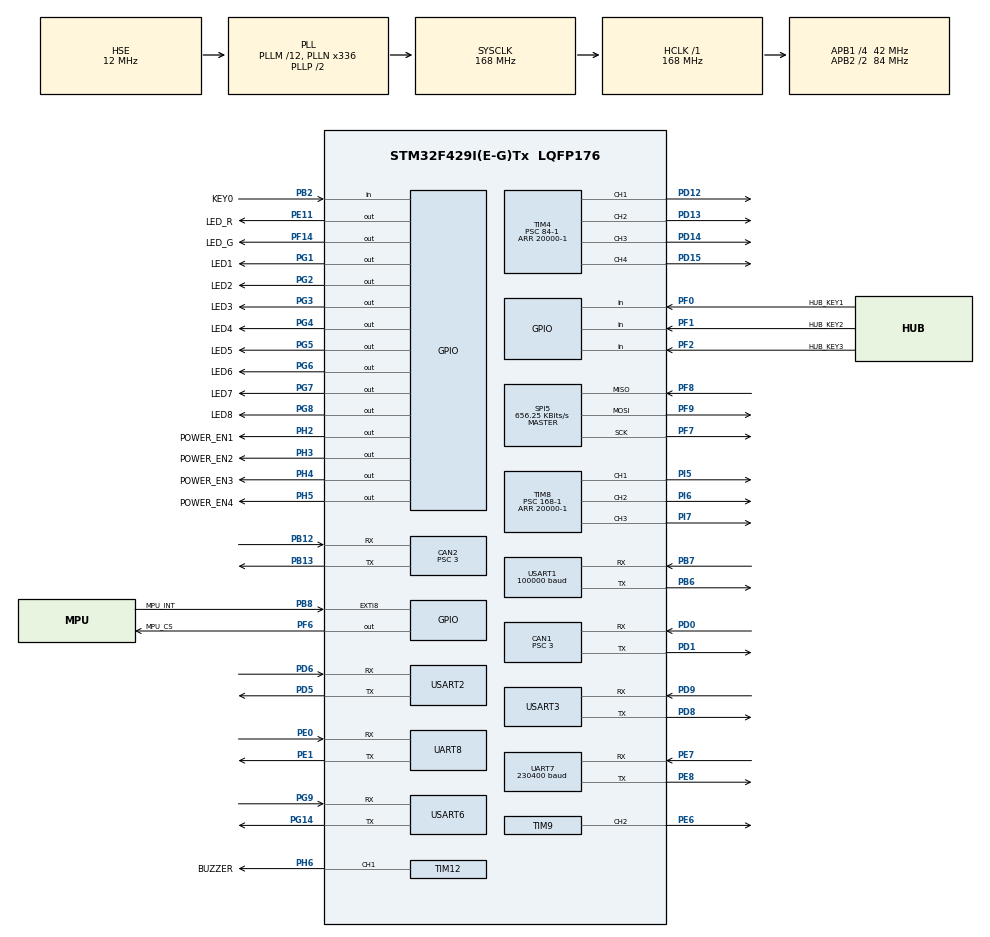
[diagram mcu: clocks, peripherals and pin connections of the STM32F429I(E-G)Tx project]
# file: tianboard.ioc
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CAN1.BS1=CAN_BS1_7TQ
CAN1.BS2=CAN_BS2_6TQ
CAN1.CalculateTimeQuantum=71.42857142857143
CAN1.Prescaler=3
CAN2.BS1=CAN_BS1_7TQ
CAN2.BS2=CAN_BS2_6TQ
CAN2.CalculateTimeQuantum=71.42857142857143
CAN2.Prescaler=3
Dma.Request0=USART1_RX
Dma.Request1=USART2_TX
Dma.Request2=UART7_RX
Dma.Request3=UART7_TX
Dma.UART7_RX.2.Direction=DMA_PERIPH_TO_MEMORY
Dma.UART7_RX.2.FIFOMode=DMA_FIFOMODE_DISABLE
Dma.UART7_RX.2.Instance=DMA1_Stream3
Dma.UART7_RX.2.MemDataAlignment=DMA_MDATAALIGN_BYTE
Dma.UART7_RX.2.MemInc=DMA_MINC_ENABLE
Dma.UART7_RX.2.Mode=DMA_NORMAL
Dma.UART7_RX.2.PeriphDataAlignment=DMA_PDATAALIGN_BYTE
Dma.UART7_RX.2.PeriphInc=DMA_PINC_DISABLE
Dma.UART7_RX.2.Priority=DMA_PRIORITY_LOW
Dma.UART7_TX.3.Direction=DMA_MEMORY_TO_PERIPH
Dma.UART7_TX.3.FIFOMode=DMA_FIFOMODE_DISABLE
Dma.UART7_TX.3.Instance=DMA1_Stream1
Dma.UART7_TX.3.MemDataAlignment=DMA_MDATAALIGN_BYTE
Dma.UART7_TX.3.MemInc=DMA_MINC_ENABLE
Dma.UART7_TX.3.Mode=DMA_NORMAL
Dma.UART7_TX.3.PeriphDataAlignment=DMA_PDATAALIGN_BYTE
Dma.UART7_TX.3.PeriphInc=DMA_PINC_DISABLE
Dma.UART7_TX.3.Priority=DMA_PRIORITY_LOW
Dma.USART1_RX.0.Direction=DMA_PERIPH_TO_MEMORY
Dma.USART1_RX.0.FIFOMode=DMA_FIFOMODE_DISABLE
Dma.USART1_RX.0.Instance=DMA2_Stream2
Dma.USART1_RX.0.MemDataAlignment=DMA_MDATAALIGN_BYTE
Dma.USART1_RX.0.MemInc=DMA_MINC_ENABLE
Dma.USART1_RX.0.Mode=DMA_NORMAL
Dma.USART1_RX.0.PeriphDataAlignment=DMA_PDATAALIGN_BYTE
Dma.USART1_RX.0.PeriphInc=DMA_PINC_DISABLE
Dma.USART1_RX.0.Priority=DMA_PRIORITY_LOW
Dma.USART2_TX.1.Direction=DMA_MEMORY_TO_PERIPH
Dma.USART2_TX.1.FIFOMode=DMA_FIFOMODE_DISABLE
Dma.USART2_TX.1.Instance=DMA1_Stream6
Dma.USART2_TX.1.MemDataAlignment=DMA_MDATAALIGN_BYTE
Dma.USART2_TX.1.MemInc=DMA_MINC_ENABLE
Dma.USART2_TX.1.Mode=DMA_NORMAL
Dma.USART2_TX.1.PeriphDataAlignment=DMA_PDATAALIGN_BYTE
Dma.USART2_TX.1.PeriphInc=DMA_PINC_DISABLE
Dma.USART2_TX.1.Priority=DMA_PRIORITY_LOW
FREERTOS.INCLUDE_xTaskGetCurrentTaskHandle=1
FREERTOS.Tasks01=defaultTask,0,128,StartDefaultTask,Default,NULL,Dynamic,NULL,NULL
FREERTOS.configTOTAL_HEAP_SIZE=131072
FREERTOS.configUSE_MUTEXES=0
FREERTOS.configUSE_TIMERS=0
Mcu.Family=STM32F4
Mcu.Name=STM32F429I(E-G)Tx
Mcu.Package=LQFP176
NVIC.CAN1_RX0_IRQn=true\:5\:0\:true\:false\:true\:true\:true\:true
NVIC.CAN1_TX_IRQn=true\:5\:0\:true\:false\:true\:true\:true\:true
NVIC.CAN2_RX0_IRQn=true\:5\:0\:false\:false\:true\:true\:true\:true
NVIC.CAN2_TX_IRQn=true\:5\:0\:false\:false\:true\:true\:true\:true
NVIC.DMA1_Stream1_IRQn=true\:5\:0\:false\:false\:true\:true\:false\:true
NVIC.DMA1_Stream3_IRQn=true\:5\:0\:false\:false\:true\:true\:false\:true
NVIC.DMA1_Stream6_IRQn=true\:5\:0\:false\:false\:true\:true\:false\:true
NVIC.DMA2_Stream2_IRQn=true\:5\:0\:false\:false\:true\:true\:false\:true
NVIC.EXTI9_5_IRQn=true\:5\:0\:false\:false\:true\:true\:true\:true
NVIC.PriorityGroup=NVIC_PRIORITYGROUP_4
NVIC.TIM1_BRK_TIM9_IRQn=true\:5\:0\:false\:false\:false\:true\:true\:false
NVIC.TIM6_DAC_IRQn=true\:0\:0\:false\:false\:true\:false\:false\:true
NVIC.TimeBase=TIM6_DAC_IRQn
NVIC.TimeBaseIP=TIM6
NVIC.UART7_IRQn=true\:5\:0\:false\:false\:true\:true\:true\:true
NVIC.USART1_IRQn=true\:5\:0\:false\:false\:true\:true\:true\:true
NVIC.USART2_IRQn=true\:5\:0\:false\:false\:true\:true\:true\:false
PA13.Mode=Serial_Wire
PA13.Signal=SYS_JTMS-SWDIO
PA14.Mode=Serial_Wire
PA14.Signal=SYS_JTCK-SWCLK
PB12.Mode=Slave
PB12.Signal=CAN2_RX
PB13.Mode=Slave
PB13.Signal=CAN2_TX
PB2/BOOT1.GPIO_Label=KEY0
PB2/BOOT1.GPIO_PuPd=GPIO_PULLDOWN
PB2/BOOT1.Signal=GPIO_Input
PB6.Mode=Asynchronous
PB6.Signal=USART1_TX
PB7.Mode=Asynchronous
PB7.Signal=USART1_RX
PB8.GPIO_Label=MPU_INT
PB8.Signal=GPXTI8
PD0.Mode=Master
PD0.Signal=CAN1_RX
PD1.Mode=Master
PD1.Signal=CAN1_TX
PD12.Signal=S_TIM4_CH1
PD13.Signal=S_TIM4_CH2
PD14.Signal=S_TIM4_CH3
PD15.Signal=S_TIM4_CH4
PD5.Mode=Asynchronous
PD5.Signal=USART2_TX
PD6.Mode=Asynchronous
PD6.Signal=USART2_RX
PD8.Mode=Asynchronous
PD8.Signal=USART3_TX
PD9.Mode=Asynchronous
PD9.Signal=USART3_RX
PE0.Mode=Asynchronous
PE0.Signal=UART8_RX
PE1.Mode=Asynchronous
PE1.Signal=UART8_TX
PE11.GPIO_Label=LED_R
PE11.Signal=GPIO_Output
PE6.Signal=S_TIM9_CH2
PE7.Mode=Asynchronous
PE7.Signal=UART7_RX
PE8.Mode=Asynchronous
PE8.Signal=UART7_TX
PF0.GPIO_Label=HUB_KEY1
PF0.GPIO_PuPd=GPIO_PULLUP
PF0.Signal=GPIO_Input
PF1.GPIO_Label=HUB_KEY2
PF1.GPIO_PuPd=GPIO_PULLUP
PF1.Signal=GPIO_Input
PF14.GPIO_Label=LED_G
PF14.Signal=GPIO_Output
PF2.GPIO_Label=HUB_KEY3
PF2.GPIO_PuPd=GPIO_PULLUP
PF2.Signal=GPIO_Input
PF6.GPIO_Label=MPU_CS
PF6.Signal=GPIO_Output
PF7.Mode=Full_Duplex_Master
PF7.Signal=SPI5_SCK
PF8.Mode=Full_Duplex_Master
PF8.Signal=SPI5_MISO
PF9.Mode=Full_Duplex_Master
PF9.Signal=SPI5_MOSI
PG1.GPIO_Label=LED1
PG1.Signal=GPIO_Output
PG14.Mode=Asynchronous
PG14.Signal=USART6_TX
PG2.GPIO_Label=LED2
PG2.Signal=GPIO_Output
PG3.GPIO_Label=LED3
PG3.Signal=GPIO_Output
PG4.GPIO_Label=LED4
PG4.Signal=GPIO_Output
PG5.GPIO_Label=LED5
PG5.Signal=GPIO_Output
PG6.GPIO_Label=LED6
PG6.Signal=GPIO_Output
PG7.GPIO_Label=LED7
PG7.Signal=GPIO_Output
PG8.GPIO_Label=LED8
PG8.Signal=GPIO_Output
PG9.Mode=Asynchronous
PG9.Signal=USART6_RX
PH0/OSC_IN.Mode=HSE-External-Oscillator
PH0/OSC_IN.Signal=RCC_OSC_IN
PH1/OSC_OUT.Mode=HSE-External-Oscillator
PH1/OSC_OUT.Signal=RCC_OSC_OUT
PH2.GPIO_Label=POWER_EN1
PH2.Signal=GPIO_Output
PH3.GPIO_Label=POWER_EN2
PH3.Signal=GPIO_Output
PH4.GPIO_Label=POWER_EN3
PH4.Signal=GPIO_Output
PH5.GPIO_Label=POWER_EN4
PH5.Signal=GPIO_Output
PH6.GPIO_Label=BUZZER
PH6.Signal=S_TIM12_CH1
PI5.Signal=S_TIM8_CH1
PI6.Signal=S_TIM8_CH2
PI7.Signal=S_TIM8_CH3
ProjectManager.HeapSize=0x1000
ProjectManager.StackSize=0x1000
ProjectManager.TargetToolchain=Makefile
RCC.48MHZClocksFreq_Value=84000000
RCC.AHBFreq_Value=168000000
RCC.APB1CLKDivider=RCC_HCLK_DIV4
RCC.APB1Freq_Value=42000000
RCC.APB1TimFreq_Value=84000000
RCC.APB2CLKDivider=RCC_HCLK_DIV2
RCC.APB2Freq_Value=84000000
RCC.APB2TimFreq_Value=168000000
RCC.CortexFreq_Value=168000000
RCC.HCLKFreq_Value=168000000
RCC.HSE_VALUE=12000000
RCC.HSI_VALUE=16000000
RCC.LSE_VALUE=32768
RCC.PLLM=12
RCC.PLLN=336
RCC.PLLSourceVirtual=RCC_PLLSOURCE_HSE
RCC.SYSCLKFreq_VALUE=168000000
RCC.SYSCLKSource=RCC_SYSCLKSOURCE_PLLCLK
RCC.VCOOutputFreq_Value=336000000
SH.S_TIM12_CH1.0=TIM12_CH1,PWM Generation1 CH1
SH.S_TIM4_CH1.0=TIM4_CH1,PWM Generation1 CH1
SH.S_TIM4_CH2.0=TIM4_CH2,PWM Generation2 CH2
SH.S_TIM4_CH3.0=TIM4_CH3,PWM Generation3 CH3
SH.S_TIM4_CH4.0=TIM4_CH4,PWM Generation4 CH4
SH.S_TIM8_CH1.0=TIM8_CH1,PWM Generation1 CH1
SH.S_TIM8_CH2.0=TIM8_CH2,PWM Generation2 CH2
SH.S_TIM8_CH3.0=TIM8_CH3,PWM Generation3 CH3
SH.S_TIM9_CH2.0=TIM9_CH2,PWM Generation2 CH2
SPI5.BaudRatePrescaler=SPI_BAUDRATEPRESCALER_128
SPI5.CalculateBaudRate=656.25 KBits/s
SPI5.Direction=SPI_DIRECTION_2LINES
SPI5.Mode=SPI_MODE_MASTER
SPI5.VirtualType=VM_MASTER
TIM12.Channel-PWM\ Generation1\ CH1=TIM_CHANNEL_1
TIM12.Period=50000-1
TIM12.Prescaler=84-1
TIM4.Channel-PWM\ Generation1\ CH1=TIM_CHANNEL_1
TIM4.Channel-PWM\ Generation2\ CH2=TIM_CHANNEL_2
TIM4.Channel-PWM\ Generation3\ CH3=TIM_CHANNEL_3
TIM4.Channel-PWM\ Generation4\ CH4=TIM_CHANNEL_4
TIM4.Period=20000-1
TIM4.Prescaler=84-1
TIM8.Channel-PWM\ Generation1\ CH1=TIM_CHANNEL_1
TIM8.Channel-PWM\ Generation2\ CH2=TIM_CHANNEL_2
TIM8.Channel-PWM\ Generation3\ CH3=TIM_CHANNEL_3
TIM8.Period=20000-1
TIM8.Prescaler=168-1
TIM9.AutoReloadPreload=TIM_AUTORELOAD_PRELOAD_ENABLE
TIM9.Channel-PWM\ Generation2\ CH2=TIM_CHANNEL_2
TIM9.Period=20-1
TIM9.Prescaler=10-1
UART7.BaudRate=230400
UART7.VirtualMode=Asynchronous
UART8.VirtualMode=Asynchronous
USART1.BaudRate=100000
USART1.Parity=PARITY_EVEN
USART1.VirtualMode=VM_ASYNC
USART1.WordLength=WORDLENGTH_9B
USART2.VirtualMode=VM_ASYNC
USART3.VirtualMode=VM_ASYNC
USART6.VirtualMode=VM_ASYNC
VP_FREERTOS_VS_CMSIS_V1.Mode=CMSIS_V1
VP_SYS_VS_tim6.Mode=TIM6
VP_TIM9_VS_ClockSourceINT.Mode=Internal
board=custom

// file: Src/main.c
/* USER CODE BEGIN Header */
/**
  ******************************************************************************
  * @file           : main.c
  * @brief          : Main program body
  ******************************************************************************
  * @attention
  *
  * <h2><center>&copy; Copyright (c) 2019 STMicroelectronics.
  * All rights reserved.</center></h2>
  *
  * This software component is licensed by ST under Ultimate Liberty license
  * SLA0044, the "License"; You may not use this file except in compliance with
  * the License. You may obtain a copy of the License at:
  *                             www.st.com/SLA0044
  *
  ******************************************************************************
  */
/* USER CODE END Header */

#include "main.h"
#include "cmsis_os.h"
#include "can.h"
#include "dma.h"
#include "spi.h"
#include "tim.h"
#include "usart.h"
#include "gpio.h"

/* USER CODE BEGIN Includes */
#include "beep.h"
#include "param.h"
/* USER CODE END Includes */

void SystemClock_Config(void);
void MX_FREERTOS_Init(void);

int main(void)
{

  /* MCU Configuration--------------------------------------------------------*/

  /* Reset of all peripherals, Initializes the Flash interface and the Systick. */
  HAL_Init();

  /* Configure the system clock */
  SystemClock_Config();

  /* Initialize all configured peripherals */
  MX_GPIO_Init();
  MX_DMA_Init();
  MX_CAN1_Init();
  MX_TIM12_Init();
  MX_USART1_UART_Init();
  MX_USART2_UART_Init();
  MX_SPI5_Init();
  MX_TIM4_Init();
  MX_TIM8_Init();
  MX_CAN2_Init();
  MX_UART7_Init();
  MX_UART8_Init();
  MX_USART3_UART_Init();
  MX_USART6_UART_Init();
  MX_TIM9_Init();
  /* USER CODE BEGIN 2 */
  BeepInit();
  BeepOn(3);
  HAL_Delay(200);
  BeepOff();
  InitParam();
  /* USER CODE END 2 */

  /* Call init function for freertos objects (in freertos.c) */
  MX_FREERTOS_Init();

  /* Start scheduler */
  osKernelStart();

  /* We should never get here as control is now taken by the scheduler */

  /* Infinite loop */
  while (1)
  {

  }
}

void SystemClock_Config(void)
{
  RCC_OscInitTypeDef RCC_OscInitStruct = {0};
  RCC_ClkInitTypeDef RCC_ClkInitStruct = {0};

  /** Configure the main internal regulator output voltage
  */
  __HAL_RCC_PWR_CLK_ENABLE();
  __HAL_PWR_VOLTAGESCALING_CONFIG(PWR_REGULATOR_VOLTAGE_SCALE1);
  /** Initializes the CPU, AHB and APB busses clocks
  */
  RCC_OscInitStruct.OscillatorType = RCC_OSCILLATORTYPE_HSE;
  RCC_OscInitStruct.HSEState = RCC_HSE_ON;
  RCC_OscInitStruct.PLL.PLLState = RCC_PLL_ON;
  RCC_OscInitStruct.PLL.PLLSource = RCC_PLLSOURCE_HSE;
  RCC_OscInitStruct.PLL.PLLM = 12;
  RCC_OscInitStruct.PLL.PLLN = 336;
  RCC_OscInitStruct.PLL.PLLP = RCC_PLLP_DIV2;
  RCC_OscInitStruct.PLL.PLLQ = 4;
  if (HAL_RCC_OscConfig(&RCC_OscInitStruct) != HAL_OK)
  {
    Error_Handler();
  }
  /** Initializes the CPU, AHB and APB busses clocks
  */
  RCC_ClkInitStruct.ClockType = RCC_CLOCKTYPE_HCLK|RCC_CLOCKTYPE_SYSCLK
                              |RCC_CLOCKTYPE_PCLK1|RCC_CLOCKTYPE_PCLK2;
  RCC_ClkInitStruct.SYSCLKSource = RCC_SYSCLKSOURCE_PLLCLK;
  RCC_ClkInitStruct.AHBCLKDivider = RCC_SYSCLK_DIV1;
  RCC_ClkInitStruct.APB1CLKDivider = RCC_HCLK_DIV4;
  RCC_ClkInitStruct.APB2CLKDivider = RCC_HCLK_DIV2;

  if (HAL_RCC_ClockConfig(&RCC_ClkInitStruct, FLASH_LATENCY_5) != HAL_OK)
  {
    Error_Handler();
  }
}

void HAL_TIM_PeriodElapsedCallback(TIM_HandleTypeDef *htim)
{
  if (htim->Instance == TIM6) {
    HAL_IncTick();
  }
}

void Error_Handler(void)
{
}

/************************ (C) COPYRIGHT STMicroelectronics *****END OF FILE****/

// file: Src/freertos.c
/* USER CODE BEGIN Header */
/**
  ******************************************************************************
  * File Name          : freertos.c
  * Description        : Code for freertos applications
  ******************************************************************************
  * @attention
  *
  * <h2><center>&copy; Copyright (c) 2019 STMicroelectronics.
  * All rights reserved.</center></h2>
  *
  * This software component is licensed by ST under Ultimate Liberty license
  * SLA0044, the "License"; You may not use this file except in compliance with
  * the License. You may obtain a copy of the License at:
  *                             www.st.com/SLA0044
  *
  ******************************************************************************
  */
/* USER CODE END Header */

#include "FreeRTOS.h"
#include "task.h"
#include "main.h"
#include "cmsis_os.h"

/* USER CODE BEGIN Includes */
#include "led.h"
#include "param.h"

//*********task*********
#include "dbus_task.h"
#include "mecanum_task.h"
#include "omni_task.h"
#include "racecar_task.h"
#include "protocol_task.h"
#include "imu_task.h"
#include "terminal_task.h"
#include "beep_task.h"
/* USER CODE END Includes */

osThreadId defaultTaskHandle;

void StartDefaultTask(void const * argument);

void MX_FREERTOS_Init(void); /* (MISRA C 2004 rule 8.1) */

/* GetIdleTaskMemory prototype (linked to static allocation support) */
void vApplicationGetIdleTaskMemory( StaticTask_t **ppxIdleTaskTCBBuffer, StackType_t **ppxIdleTaskStackBuffer, uint32_t *pulIdleTaskStackSize );

/* USER CODE BEGIN GET_IDLE_TASK_MEMORY */
static StaticTask_t xIdleTaskTCBBuffer;
static StackType_t xIdleStack[configMINIMAL_STACK_SIZE];

void vApplicationGetIdleTaskMemory( StaticTask_t **ppxIdleTaskTCBBuffer, StackType_t **ppxIdleTaskStackBuffer, uint32_t *pulIdleTaskStackSize )
{
  *ppxIdleTaskTCBBuffer = &xIdleTaskTCBBuffer;
  *ppxIdleTaskStackBuffer = &xIdleStack[0];
  *pulIdleTaskStackSize = configMINIMAL_STACK_SIZE;
  /* place for user code */
}
/* USER CODE END GET_IDLE_TASK_MEMORY */

void MX_FREERTOS_Init(void) {
  /* USER CODE BEGIN Init */
  BeepTaskInit();
  ImuTaskInit();
  DbusTaskInit();
  switch(param.base_type)
  {
    case BASE_TYPE_MECANUM:
      MecanumTaskInit();
      break;

    case BASE_TYPE_OMNI:
      OmniTaskInit();
      break;

    case BASE_TYPE_RACECAR:
      RacecarTaskInit();
      break;

    default:
      MecanumTaskInit();
      break;
  }
  TerminalTaskInit();
  ProtocolTaskInit();
  /* USER CODE END Init */

  /* Create the thread(s) */
  /* definition and creation of defaultTask */
  osThreadDef(defaultTask, StartDefaultTask, osPriorityNormal, 0, 128);
  defaultTaskHandle = osThreadCreate(osThread(defaultTask), NULL);

}

void StartDefaultTask(void const * argument)
{
  /* USER CODE BEGIN StartDefaultTask */
  LedROff();
  Led1Off();
  Led2Off();
  Led3Off();
  Led4Off();
  Led5Off();
  Led6Off();
  Led7Off();
  Led8Off();
  /* Infinite loop */
  for(;;)
  {
    osDelay(500);
    LedGToggle();
  }
  /* USER CODE END StartDefaultTask */
}

/************************ (C) COPYRIGHT STMicroelectronics *****END OF FILE****/
